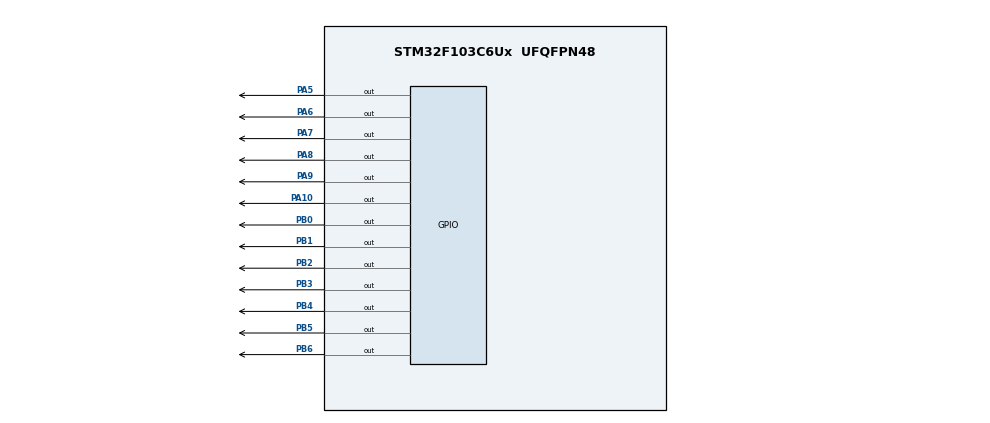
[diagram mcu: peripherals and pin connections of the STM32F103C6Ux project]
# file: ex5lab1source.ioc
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Mcu.Family=STM32F1
Mcu.Name=STM32F103C6Ux
Mcu.Package=UFQFPN48
NVIC.PriorityGroup=NVIC_PRIORITYGROUP_4
PA10.Signal=GPIO_Output
PA5.Signal=GPIO_Output
PA6.Signal=GPIO_Output
PA7.Signal=GPIO_Output
PA8.Signal=GPIO_Output
PA9.Signal=GPIO_Output
PB0.Signal=GPIO_Output
PB1.Signal=GPIO_Output
PB2.Signal=GPIO_Output
PB3.Signal=GPIO_Output
PB4.Signal=GPIO_Output
PB5.Signal=GPIO_Output
PB6.Signal=GPIO_Output
ProjectManager.HeapSize=0x200
ProjectManager.StackSize=0x400
ProjectManager.TargetToolchain=Makefile
RCC.APB1Freq_Value=8000000
RCC.APB2Freq_Value=8000000
VP_SYS_VS_ND.Mode=No_Debug
board=custom

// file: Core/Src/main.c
/* USER CODE BEGIN Header */
/**
  ******************************************************************************
  * @file           : main.c
  * @brief          : Main program body
  ******************************************************************************
  * @attention
  *
  * Copyright (c) 2022 STMicroelectronics.
  * All rights reserved.
  *
  * This software is licensed under terms that can be found in the LICENSE file
  * in the root directory of this software component.
  * If no LICENSE file comes with this software, it is provided AS-IS.
  *
  ******************************************************************************
  */
/* USER CODE END Header */
#include "main.h"

void SystemClock_Config(void);
static void MX_GPIO_Init(void);

/* USER CODE BEGIN 0 */

#define SEG_a GPIO_PIN_0
#define SEG_b GPIO_PIN_1
#define SEG_c GPIO_PIN_2
#define SEG_d GPIO_PIN_3
#define SEG_e GPIO_PIN_4
#define SEG_f GPIO_PIN_5
#define SEG_g GPIO_PIN_6

void display7SEG(int num) {

  static const uint16_t ALL_SEGS = 0x7f;

  static const uint16_t LUT_SET[] = {
    SEG_g,                                // 0
    ALL_SEGS &~ (SEG_b | SEG_c),          // 1
    SEG_c | SEG_f,                        // 2
    SEG_e | SEG_f,                        // 3
    SEG_a | SEG_d | SEG_e,                // 4
    SEG_b | SEG_e,                        // 5
    SEG_b,                                // 6
    ALL_SEGS &~ (SEG_a | SEG_b | SEG_c),  // 7
    0,                                    // 8
    SEG_e                                 // 9
  };

  const uint16_t SET_SEGS = LUT_SET[num];

  GPIOB->BSRR = SET_SEGS | ((uint32_t)(ALL_SEGS & ~SET_SEGS) << 16u);

}
/* USER CODE END 0 */

int main(void)
{

  /* MCU Configuration--------------------------------------------------------*/

  /* Reset of all peripherals, Initializes the Flash interface and the Systick. */
  HAL_Init();

  /* Configure the system clock */
  SystemClock_Config();

  /* Initialize all configured peripherals */
  MX_GPIO_Init();

  /* Infinite loop */
  /* USER CODE BEGIN WHILE */
  while (1)
  {
    GPIOA->ODR = 0b01111000000;
    display7SEG(3);
    HAL_Delay(1000);

    display7SEG(2);
    HAL_Delay(1000);

    display7SEG(1);
    HAL_Delay(1000);
    GPIOA->ODR = 0b10111000000;
    display7SEG(2);
    HAL_Delay(1000);

    display7SEG(1);
    HAL_Delay(1000);
    GPIOA->ODR = 0b11001100000;
    display7SEG(5);
    HAL_Delay(1000);

    display7SEG(4);
    HAL_Delay(1000);

    display7SEG(3);
    HAL_Delay(1000);
    GPIOA->ODR = 0b11010100000;
    display7SEG(2);
    HAL_Delay(1000);

    display7SEG(1);
    HAL_Delay(1000);
    /* USER CODE END WHILE */

  }
}

void SystemClock_Config(void)
{
  RCC_OscInitTypeDef RCC_OscInitStruct = {0};
  RCC_ClkInitTypeDef RCC_ClkInitStruct = {0};

  /** Initializes the RCC Oscillators according to the specified parameters
  * in the RCC_OscInitTypeDef structure.
  */
  RCC_OscInitStruct.OscillatorType = RCC_OSCILLATORTYPE_HSI;
  RCC_OscInitStruct.HSIState = RCC_HSI_ON;
  RCC_OscInitStruct.HSICalibrationValue = RCC_HSICALIBRATION_DEFAULT;
  RCC_OscInitStruct.PLL.PLLState = RCC_PLL_NONE;
  if (HAL_RCC_OscConfig(&RCC_OscInitStruct) != HAL_OK)
  {
    Error_Handler();
  }

  /** Initializes the CPU, AHB and APB buses clocks
  */
  RCC_ClkInitStruct.ClockType = RCC_CLOCKTYPE_HCLK|RCC_CLOCKTYPE_SYSCLK
                              |RCC_CLOCKTYPE_PCLK1|RCC_CLOCKTYPE_PCLK2;
  RCC_ClkInitStruct.SYSCLKSource = RCC_SYSCLKSOURCE_HSI;
  RCC_ClkInitStruct.AHBCLKDivider = RCC_SYSCLK_DIV1;
  RCC_ClkInitStruct.APB1CLKDivider = RCC_HCLK_DIV1;
  RCC_ClkInitStruct.APB2CLKDivider = RCC_HCLK_DIV1;

  if (HAL_RCC_ClockConfig(&RCC_ClkInitStruct, FLASH_LATENCY_0) != HAL_OK)
  {
    Error_Handler();
  }
}

static void MX_GPIO_Init(void)
{
  GPIO_InitTypeDef GPIO_InitStruct = {0};

  /* GPIO Ports Clock Enable */
  __HAL_RCC_GPIOA_CLK_ENABLE();
  __HAL_RCC_GPIOB_CLK_ENABLE();

  /*Configure GPIO pin Output Level */
  HAL_GPIO_WritePin(GPIOA, GPIO_PIN_5|GPIO_PIN_6|GPIO_PIN_7|GPIO_PIN_8
                          |GPIO_PIN_9|GPIO_PIN_10, GPIO_PIN_RESET);

  /*Configure GPIO pin Output Level */
  HAL_GPIO_WritePin(GPIOB, GPIO_PIN_0|GPIO_PIN_1|GPIO_PIN_2|GPIO_PIN_3
                          |GPIO_PIN_4|GPIO_PIN_5|GPIO_PIN_6, GPIO_PIN_RESET);

  /*Configure GPIO pins : PA5 PA6 PA7 PA8
                           PA9 PA10 */
  GPIO_InitStruct.Pin = GPIO_PIN_5|GPIO_PIN_6|GPIO_PIN_7|GPIO_PIN_8
                          |GPIO_PIN_9|GPIO_PIN_10;
  GPIO_InitStruct.Mode = GPIO_MODE_OUTPUT_PP;
  GPIO_InitStruct.Pull = GPIO_NOPULL;
  GPIO_InitStruct.Speed = GPIO_SPEED_FREQ_LOW;
  HAL_GPIO_Init(GPIOA, &GPIO_InitStruct);

  /*Configure GPIO pins : PB0 PB1 PB2 PB3
                           PB4 PB5 PB6 */
  GPIO_InitStruct.Pin = GPIO_PIN_0|GPIO_PIN_1|GPIO_PIN_2|GPIO_PIN_3
                          |GPIO_PIN_4|GPIO_PIN_5|GPIO_PIN_6;
  GPIO_InitStruct.Mode = GPIO_MODE_OUTPUT_PP;
  GPIO_InitStruct.Pull = GPIO_NOPULL;
  GPIO_InitStruct.Speed = GPIO_SPEED_FREQ_LOW;
  HAL_GPIO_Init(GPIOB, &GPIO_InitStruct);

}

void Error_Handler(void)
{
  __disable_irq();
  while (1)
  {
  }
}
